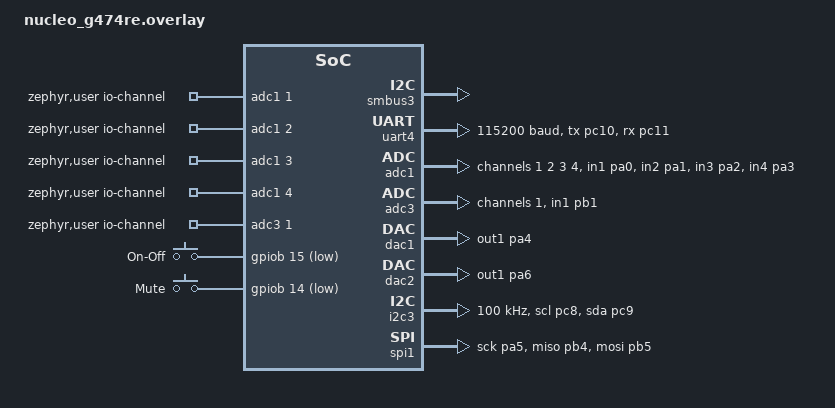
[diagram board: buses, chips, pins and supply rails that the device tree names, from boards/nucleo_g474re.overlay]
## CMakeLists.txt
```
Cmake_minimum_required(VERSION 3.20.0)

find_package(Zephyr REQUIRED HINTS $ENV{ZEPHYR_BASE})
project(ups_controller)

target_sources(app PRIVATE
	src/main.c
)
```

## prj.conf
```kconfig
CONFIG_PM=n
CONFIG_ADC=y
CONFIG_ADC_STM32=y
CONFIG_DAC=y
CONFIG_DAC_STM32=y
CONFIG_COUNTER_TIMER_STM32=y
CONFIG_SHELL=y
CONFIG_SHELL_BACKEND_SERIAL=y
CONFIG_SHELL_HISTORY_BUFFER=512
CONFIG_CONSOLE=y
CONFIG_UART_CONSOLE=y
CONFIG_SERIAL=y
CONFIG_DEBUG=y
CONFIG_I2C=y
CONFIG_I2C_STM32=y
CONFIG_SMBUS_STM32=y
CONFIG_I2C_SHELL=y
CONFIG_GPIO_SHELL=y
CONFIG_EVENTS=y
CONFIG_SMF=y
CONFIG_LOG=y
CONFIG_LOG_CMDS=y
CONFIG_CBPRINTF_FP_SUPPORT=y
CONFIG_PICOLIBC_IO_FLOAT=y
CONFIG_PICOLIBC=y
```

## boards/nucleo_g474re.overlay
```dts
/*
 * SPDX-License-Identifier: Apache-2.0
 *
 * Copyright (c) 2023 STMicroelectronics
 */

#include <zephyr/dt-bindings/adc/adc.h>
#include <zephyr/dt-bindings/dma/stm32_dma.h>
#include <zephyr/dt-bindings/clock/stm32_clock.h>
#include <zephyr/dt-bindings/clock/stm32g4_clock.h>
#include <zephyr/dt-bindings/clock/stm32_common_clocks.h>
#include <zephyr/dt-bindings/timer/stm32-timer.h>
#include <zephyr/dt-bindings/i2c/i2c.h>
#include <zephyr/dt-bindings/input/input-event-codes.h>
#include <zephyr/dt-bindings/pinctrl/stm32-pinctrl.h>

/ {
	zephyr,user {
		/* adjust channel number according to pinmux in board.dts */
		io-channels = <&adc1 1>, <&adc1 2>, <&adc1 3>, <&adc1 4>, <&adc3 1>;
		dac1 = <&dac1>;
		dac2 = <&dac2>;
		dac-channel-id  = <1>;
		dac-resolution = <12>;
	};
};

/ {
	buttons {
		compatible = "gpio-keys";
		button0: button_0 {
			gpios = <&gpiob 15 (GPIO_ACTIVE_LOW)>;
//			zephyr,code = <INPUT_BTN_0>;
			label = "On-Off";
		};
		button1: button_1 {
			gpios = <&gpiob 14 (GPIO_ACTIVE_LOW)>;
//			zephyr,code = <INPUT_BTN_1>;
			label = "Mute";
		};
	};
};

&clk_hse {
	status = "disabled";
};

&clk_hsi {
	clock-frequency = <16000000>;
	status = "okay";
};

&rcc {
	clocks = <&pll>;
	clock-frequency = <80000000>;
	ahb-prescaler = <1>;
	apb1-prescaler = <1>;
	apb2-prescaler = <1>;
};

&pll {
	div-m = <1>;
	mul-n = <20>;
	div-p = <7>;
	div-r = <4>;
	div-q = <2>;
	clocks = < &clk_hsi >;
	status = "okay";
};

&smbus3 {
	status = "okay";
};

/* before we can use all of the A/D channels on ADC1 we have to move the serial console */

/* these two could conflict with alternate uses of their pins defined elsewhere */
&lpuart1 {
	status = "disabled";
};

&i2c1 {
	status = "disabled";
};


&uart4 {
	pinctrl-0 = <&uart4_tx_pc10 &uart4_rx_pc11>;
	pinctrl-names = "default";
	current-speed = <115200>;
	status = "okay";
};

/ {
	chosen {
		zephyr,console = &uart4;
		zephyr,shell-uart = &uart4;
		zephyr,uart-mcumgr = &uart4;
	};
};

&adc1 {
	st,adc-clock-source = "SYNC"; //async mode doesn't appear to be set up
	st,adc-prescaler = <4>;
//	clocks = <&pll>;
	status = "okay";
	vref-mv = <3000>; //Zephyr reference is always tied to +VREF pin on STM32
	pinctrl-0 = <&adc1_in1_pa0 &adc1_in2_pa1 &adc1_in3_pa2 &adc1_in4_pa3>;
	#address-cells = <1>;
	#size-cells = <0>;

	channel@1 {
		reg = <1>;
		zephyr,gain = "ADC_GAIN_1";
		zephyr,reference = "ADC_REF_INTERNAL";
		zephyr,acquisition-time = <ADC_ACQ_TIME_DEFAULT>;
		zephyr,resolution = <12>;
	};
	
	channel@2 {
		reg = <2>;
		zephyr,gain = "ADC_GAIN_1";
		zephyr,reference = "ADC_REF_INTERNAL";
		zephyr,acquisition-time = <ADC_ACQ_TIME_DEFAULT>;
		zephyr,resolution = <12>;
	};

	channel@3 {
		reg = <3>;
		zephyr,gain = "ADC_GAIN_1";
		zephyr,reference = "ADC_REF_INTERNAL";
		zephyr,acquisition-time = <ADC_ACQ_TIME_DEFAULT>;
		zephyr,resolution = <12>;
	};

	channel@4 {
		reg = <4>;
		zephyr,gain = "ADC_GAIN_1";
		zephyr,reference = "ADC_REF_INTERNAL";
		zephyr,acquisition-time = <ADC_ACQ_TIME_DEFAULT>;
		zephyr,resolution = <12>;
	};
};

&adc3 {
	st,adc-clock-source = "SYNC";
	st,adc-prescaler = <4>;
	vref-mv = <3000>;
	pinctrl-0 = <&adc3_in1_pb1>;
	pinctrl-names = "default";
	#address-cells = <1>;
	#size-cells = <0>;
	status = "okay";
	
	channel@1 {
		reg = <1>;
		zephyr,gain = "ADC_GAIN_1";
		zephyr,reference = "ADC_REF_INTERNAL";
		zephyr,acquisition-time = <ADC_ACQ_TIME_DEFAULT>;
		zephyr,resolution = <12>;
	};
};
	

&dac1 {
	pinctrl-0 = <&dac1_out1_pa4>; /* can't use 2nd channel, conflicts with SPI */
	pinctrl-names = "default";
	status = "okay";
};

&dac2 {
	pinctrl-0 = <&dac2_out1_pa6>;
	pinctrl-names = "default";
	status = "okay";
};

&i2c3 {
	pinctrl-0 = <&i2c3_scl_pc8 &i2c3_sda_pc9>;
	pinctrl-names = "default";
	clock-frequency = <I2C_BITRATE_STANDARD>; // _FAST = 400KHz, some STM32 mcu's have problems with 100KHz
	status = "okay";
};

&spi1 {
	pinctrl-0 = <&spi1_sck_pa5 &spi1_miso_pb4 &spi1_mosi_pb5>;
	pinctrl-names = "default";
	cs-gpios = <&gpioa 15 ((1 << 0) | (1 << 4))>;
	status = "okay";
};
```

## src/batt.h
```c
/* Battery communications support */

// Following commands are all read only, and return two bytes.
// Batt supposedly has a write command to put the battery in "ship" mode
// but we need to figure out what that is from the battery manufacturer.
// See the smart batt spec for a complete list of commands, these are only
// a few.  May need to implement others depending on customer requirements.

#define BATT_SMBUS_ADDR 0x0b
// A word to the wise: Inventus batt needs 100KHz I2C speed to work.
// Faster than that the bugger won't respond.

#define BATT_VOLTAGE 0x9 // mV
#define BATT_CURRENT 0x0a // mA
#define BATT_AVG_CURRENT 0x0b // rolling 1 minute average
#define BATT_SOC_MAX_ERROR 0x0c // percent
#define BATT_SOC  0x0d  // state of charge, percent
#define BATT_ABS_SOC 0x0e // based on design capacity, percent
#define BATT_CAP_REMAIN 0x0f  // maAr or 10mWh
#define BATT_AVG_TO_EMPTY 0x12 // in minutes
#define BATT_TEMP 0x08  // 0.1 Kelvin. Divide by 10 then subtract 273.15 to get C.  F is uglier...
#define BATT_STAT 0x16  //bit mapped
#define DESIRED_CHG_CURRENT 0x14 // battery's desired charging current
#define DESIRED_CHG_VOLTAGE 0x15 // battery's desired charging voltage.

//Status bits:
#define ALM_OVER_CHGED 0x8000
#define ALM_TERM_CHARGE 0x4000
#define ALM_OVERTEMP 0x1000
#define ALM_TERM_DISCHARGE 0x0800
#define ALM_REMAIN_CAPACITY 0x0200
#define ALM_REMAIN_TIME 0x0100

#define STAT_INITIALIZED 0x0080
#define STAT_DISCHARGING 0x0040
#define STAT_FULL_CHARGED 0x0020
#define STAT_FULL_DISCHARGED 0x0010

// the 4 lsb's of the status register define comms error codes:

#define FUNC_OK 0x0000
#define FUNC_BUSY 0x0001
#define FUNC_UNDEFINED 0x0002
#define FUNC_UNSUPPORTED 0x0003
#define FUNC_ACCESS_DENIED 0x0004
#define FUNC_OFLOW_UFLOW 0x0005
#define FUNC_BAD_DATA_SIZE 0x0006
#define FUNC_UNK_ERROR 0x0007
//NOTE: error conditions are indicated by the battery's refusal to acknowledge a read or write command.

static struct batt_health {
	uint16_t temperature; //degrees kelvin
	uint16_t voltage;
	int16_t current; //positive is charging, negative is discharging, mA
	int16_t avg_current; // 1 minute rolling average, charging or discharging
	uint16_t state_of_chg; // predicted remaining capacity in percent of "full charge capacity"
	uint16_t abs_state_of_chg; // remaining capacity as percentage of design capacity.  Could be >100%
	uint16_t remaining_capacity; // mAhr
	uint16_t avg_time_to_empty; // minutes
	uint16_t batt_stats; // flag register
} batt_info;

/**
 * This might seem a bit daft since the battery is using SMBus verses an I2C interface,
 * but since there are no other I2C devices in the system we can get away with this.
 * Note that SMBus interface is limited to 100KHz maximum speed, and that pullup
 * resistors must tie to 3.3V ONLY.  Since the battery has no 'alert' signal, for all
 * intents and purposes it's just an I2C device with restrictions.
 */

void load_batt_info( struct batt_health *stats, const struct device *i2c_dev) {
	uint8_t rx_buf[2];
	uint8_t tx_buf[2];

	// These all return raw values, user context determines converstion needed
	tx_buf[0] = BATT_TEMP;
	i2c_write_read(i2c_dev, BATT_SMBUS_ADDR, tx_buf, 1, rx_buf, 2);
	stats->temperature = (uint16_t)(rx_buf[0] + rx_buf[1] * 256);

	tx_buf[0] = BATT_VOLTAGE;
	i2c_write_read(i2c_dev, BATT_SMBUS_ADDR, tx_buf, 1, rx_buf, 2);
	stats->voltage = (int32_t)(uint16_t)(rx_buf[0] + (rx_buf[1] * 256));
	
	tx_buf[0] = BATT_CURRENT;  //signed:w

	i2c_write_read(i2c_dev, BATT_SMBUS_ADDR, tx_buf, 1, rx_buf, 2);
	stats->current =(int16_t)(rx_buf[0] + 256*rx_buf[1]);

	tx_buf[0] = BATT_AVG_CURRENT; //signed
	i2c_write_read(i2c_dev, BATT_SMBUS_ADDR, tx_buf, 1, rx_buf, 2);
	stats->avg_current = (int16_t)(rx_buf[0] + 256*rx_buf[1]);
	
	tx_buf[0] = BATT_SOC;
	i2c_write_read(i2c_dev, BATT_SMBUS_ADDR, tx_buf, 1, rx_buf, 2);
	stats->state_of_chg = (uint16_t)(rx_buf[0] + 256*rx_buf[1]);
	
	tx_buf[0] = BATT_ABS_SOC;
	i2c_write_read(i2c_dev, BATT_SMBUS_ADDR, tx_buf, 1, rx_buf, 2);
	stats->abs_state_of_chg = (uint16_t)(rx_buf[0] + 256*rx_buf[1]);
	
	tx_buf[0] = BATT_CAP_REMAIN;
	i2c_write_read(i2c_dev, BATT_SMBUS_ADDR, tx_buf, 1, rx_buf, 2);
	stats->remaining_capacity = (uint16_t)(rx_buf[0] + 256*rx_buf[1]);

	tx_buf[0] = BATT_AVG_TO_EMPTY;
	i2c_write_read(i2c_dev, BATT_SMBUS_ADDR, tx_buf, 1, rx_buf, 2);
	stats->avg_time_to_empty = (uint16_t)(rx_buf[0] + 256*rx_buf[1]);

	tx_buf[0] = BATT_STAT;
	i2c_write_read(i2c_dev, BATT_SMBUS_ADDR, tx_buf, 1, rx_buf, 2);
	stats->batt_stats = (uint16_t)(rx_buf[0] + 256*rx_buf[1]);
};
```
